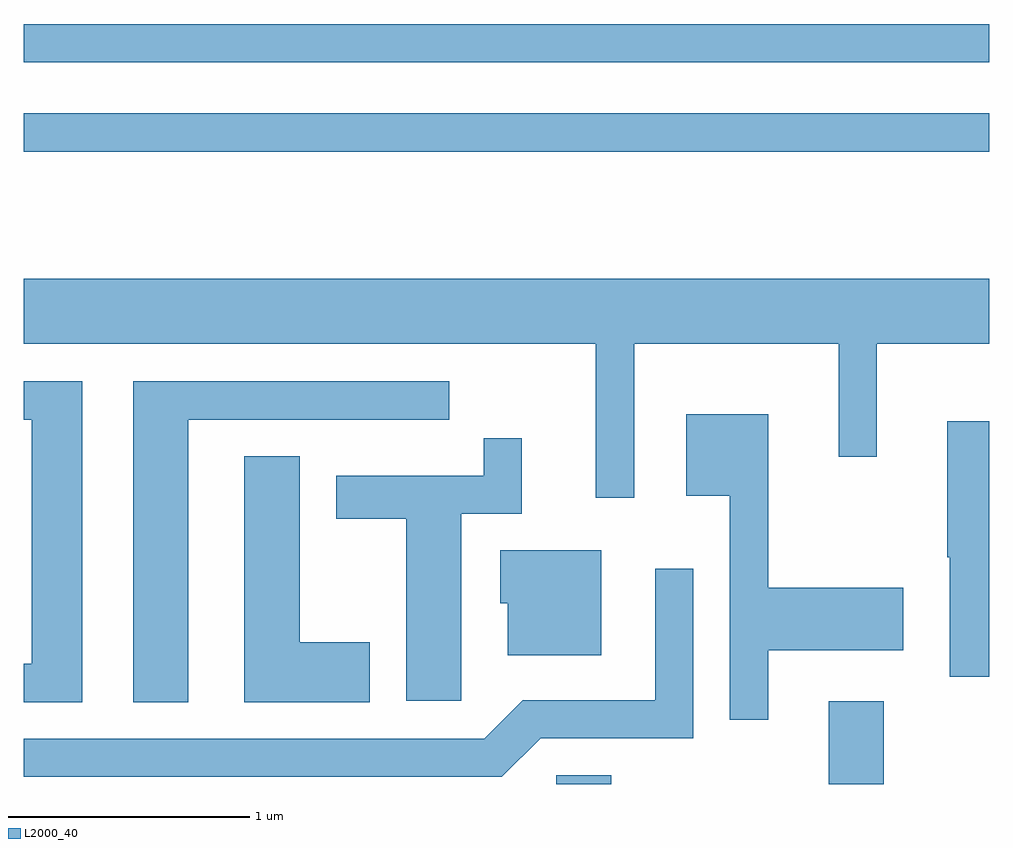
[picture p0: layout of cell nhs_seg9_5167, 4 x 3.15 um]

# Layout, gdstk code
import gdstk
lib = gdstk.Library(unit=1e-6, precision=1e-09)
def R(c, l, rs):  # rectangles x0, y0, x1, y1
    for r in rs: c.add(gdstk.rectangle(r[:2], r[2:], *l))
def P(c, l, *ps):  # polygons
    for p in ps: c.add(gdstk.Polygon(p, *l))
L2000_40 = (2000, 40)

nhs_seg9_5167 = lib.new_cell('nhs_seg9_5167')
R(nhs_seg9_5167, L2000_40, [(339.816,1994.432,340.044,1994.469), (340.946,1994.432,341.174,1994.774), (337.611,1997.051,341.611,1997.209), (337.611,1997.421,341.611,1997.579)])
P(nhs_seg9_5167, L2000_40, [(340.139,1996.256),(340.986,1996.256),(340.986,1995.788),(341.144,1995.788),(341.144,1996.256),(341.611,1996.256),(341.611,1996.524),(337.611,1996.524),(337.611,1996.256),(339.981,1996.256),(339.981,1995.618),(340.139,1995.618)],
  [(337.854,1996.099),(337.611,1996.099),(337.611,1995.941),(337.646,1995.941),(337.646,1994.929),(337.611,1994.929),(337.611,1994.771),(337.854,1994.771)],
  [(338.294,1995.941),(339.373,1995.941),(339.373,1996.099),(338.066,1996.099),(338.066,1994.771),(338.294,1994.771)],
  [(340.694,1994.986),(341.254,1994.986),(341.254,1995.244),(340.694,1995.244),(340.694,1995.964),(340.356,1995.964),(340.356,1995.626),(340.536,1995.626),(340.536,1994.698),(340.694,1994.698)],
  [(341.611,1995.934),(341.436,1995.934),(341.436,1995.37),(341.446,1995.37),(341.446,1994.876),(341.611,1994.876)],
  [(339.424,1995.551),(339.674,1995.551),(339.674,1995.863),(339.516,1995.863),(339.516,1995.709),(338.906,1995.709),(338.906,1995.531),(339.196,1995.531),(339.196,1994.776),(339.424,1994.776)],
  [(339.044,1995.019),(338.754,1995.019),(338.754,1995.789),(338.526,1995.789),(338.526,1994.771),(339.044,1994.771)],
  [(340.004,1995.399),(339.586,1995.399),(339.586,1995.181),(339.616,1995.181),(339.616,1994.966),(340.004,1994.966)],
  [(339.752,1994.621),(340.384,1994.621),(340.384,1995.323),(340.226,1995.323),(340.226,1994.779),(339.679,1994.779),(339.519,1994.619),(337.611,1994.619),(337.611,1994.461),(339.592,1994.461)])

lib.write_gds('nhs_seg9_5167.gds')
